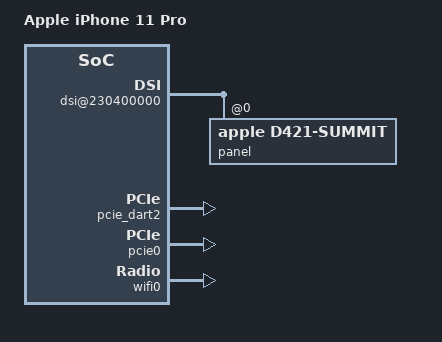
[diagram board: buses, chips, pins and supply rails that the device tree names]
// SPDX-License-Identifier: GPL-2.0-only OR MIT
/*
 * Apple D421
 *
 * Copyright (c) 2026, Yuriy Havrylyuk <yhavry@gmail.com>
 */
/dts-v1/;

#include "t8030.dtsi"
#include "t8030-common.dtsi"

/ {
	compatible = "apple,d421", "apple,t8030", "apple,arm-platform";
	model = "Apple iPhone 11 Pro";

	aliases {
		bluetooth0 = &bluetooth0;
		wifi0 = &wifi0;
	};

	chosen {
		#address-cells = <2>;
		#size-cells = <2>;
		ranges;
		stdout-path = "serial0:115200n8";

		framebuffer@0 {
			compatible = "apple,simple-framebuffer", "simple-framebuffer";
			reg = <0 0 0 0>; /* To be filled by loader */

			/* Format properties will be added by loader */
			status = "disabled";
		};
	};
};

&{/soc} {
	dsi@230400000 {
		compatible = "apple,t8030-display-pipe-mipi";
		reg = <0x2 0x30400000 0x0 0xc0000>;
		#address-cells = <1>;
		#size-cells = <0>;

		panel@0 {
			compatible = "apple,d421-summit", "apple,summit";
			reg = <0>;
			max-brightness = <2047>;
			default-brightness = <598>;
		};
	};
};

&pcie_dart2 {
	status = "okay";
};

&pcie0 {
	status = "okay";
};

&port02 {
	bus-range = <1 1>;

	wifi0: wifi@0,0 {
		compatible = "pci14e4,4425";
		reg = <0x10000 0x0 0x0 0x0 0x0>;
		/* To be filled by the loader */
		local-mac-address = [00 00 00 00 00 00];
		apple,antenna-sku = "XX";
		brcm,board-type = "apple,d421";
	};

	bluetooth0: bluetooth@0,1 {
		compatible = "pci14e4,5f69";
		reg = <0x10100 0x0 0x0 0x0 0x0>;
		/* To be filled by the loader */
		local-bd-address = [00 00 00 00 00 00];
		brcm,board-type = "apple,d421";
	};
};
